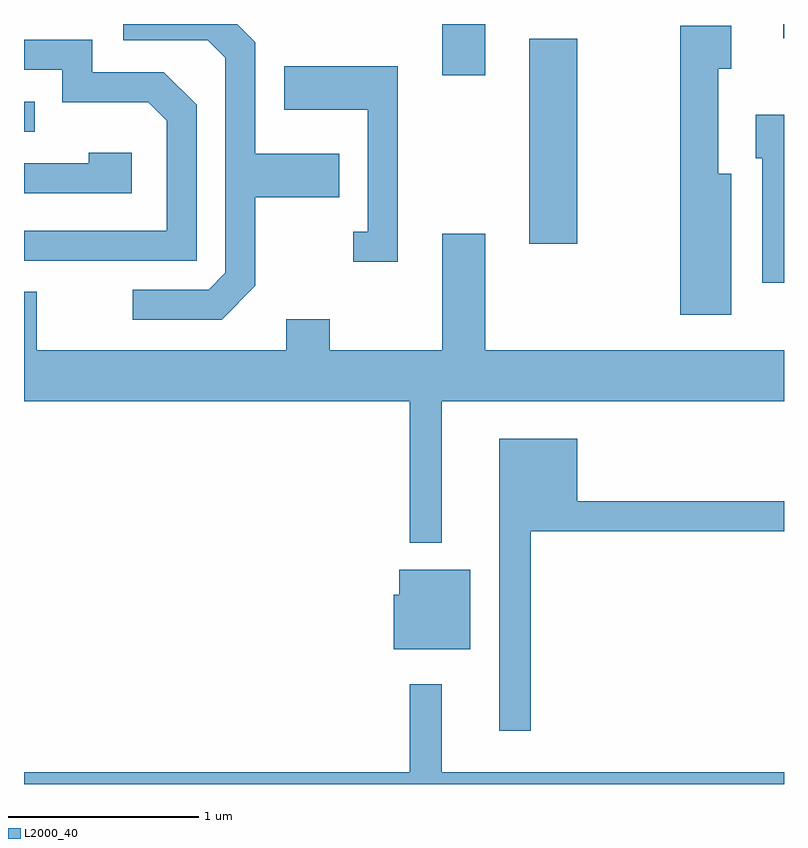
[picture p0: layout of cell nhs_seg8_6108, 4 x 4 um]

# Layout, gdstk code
import gdstk
lib = gdstk.Library(unit=1e-6, precision=1e-09)
def R(c, l, rs):  # rectangles x0, y0, x1, y1
    for r in rs: c.add(gdstk.rectangle(r[:2], r[2:], *l))
def P(c, l, *ps):  # polygons
    for p in ps: c.add(gdstk.Polygon(p, *l))
L2000_40 = (2000, 40)

nhs_seg8_6108 = lib.new_cell('nhs_seg8_6108')
R(nhs_seg8_6108, L2000_40, [(370.271,1897.186,370.524,1898.264), (367.611,1897.776,367.668,1897.934), (369.811,1898.071,370.039,1898.342), (371.606,1898.266,371.611,1898.342)])
P(nhs_seg8_6108, L2000_40, [(368.829,1896.964),(368.829,1897.431),(369.269,1897.431),(369.269,1897.659),(368.829,1897.659),(368.829,1898.247),(368.734,1898.342),(368.133,1898.342),(368.133,1898.256),(368.579,1898.256),(368.671,1898.164),(368.671,1897.032),(368.584,1896.944),(368.183,1896.944),(368.183,1896.786),(368.652,1896.786)],
  [(371.334,1897.554),(371.264,1897.554),(371.264,1898.106),(371.334,1898.106),(371.334,1898.334),(371.066,1898.334),(371.066,1896.811),(371.334,1896.811)],
  [(368.519,1897.917),(368.347,1898.089),(367.969,1898.089),(367.969,1898.259),(367.611,1898.259),(367.611,1898.101),(367.811,1898.101),(367.811,1897.931),(368.264,1897.931),(368.361,1897.834),(368.361,1897.254),(367.611,1897.254),(367.611,1897.096),(368.519,1897.096)],
  [(369.579,1898.119),(368.981,1898.119),(368.981,1897.891),(369.421,1897.891),(369.421,1897.249),(369.343,1897.249),(369.343,1897.091),(369.579,1897.091)],
  [(371.611,1897.864),(371.461,1897.864),(371.461,1897.636),(371.496,1897.636),(371.496,1896.981),(371.611,1896.981)],
  [(368.179,1897.664),(367.951,1897.664),(367.951,1897.609),(367.611,1897.609),(367.611,1897.451),(368.179,1897.451)],
  [(369.809,1896.356),(371.611,1896.356),(371.611,1896.624),(370.039,1896.624),(370.039,1897.239),(369.811,1897.239),(369.811,1896.624),(369.219,1896.624),(369.219,1896.789),(368.991,1896.789),(368.991,1896.624),(367.679,1896.624),(367.679,1896.934),(367.611,1896.934),(367.611,1896.356),(369.641,1896.356),(369.641,1895.613),(369.809,1895.613)],
  [(370.279,1895.671),(371.611,1895.671),(371.611,1895.829),(370.524,1895.829),(370.524,1896.159),(370.111,1896.159),(370.111,1894.623),(370.279,1894.623)],
  [(369.959,1895.469),(369.586,1895.469),(369.586,1895.339),(369.556,1895.339),(369.556,1895.051),(369.959,1895.051)],
  [(371.611,1894.404),(369.809,1894.404),(369.809,1894.868),(369.641,1894.868),(369.641,1894.404),(367.611,1894.404),(367.611,1894.342),(371.611,1894.342)])

lib.write_gds('nhs_seg8_6108.gds')
